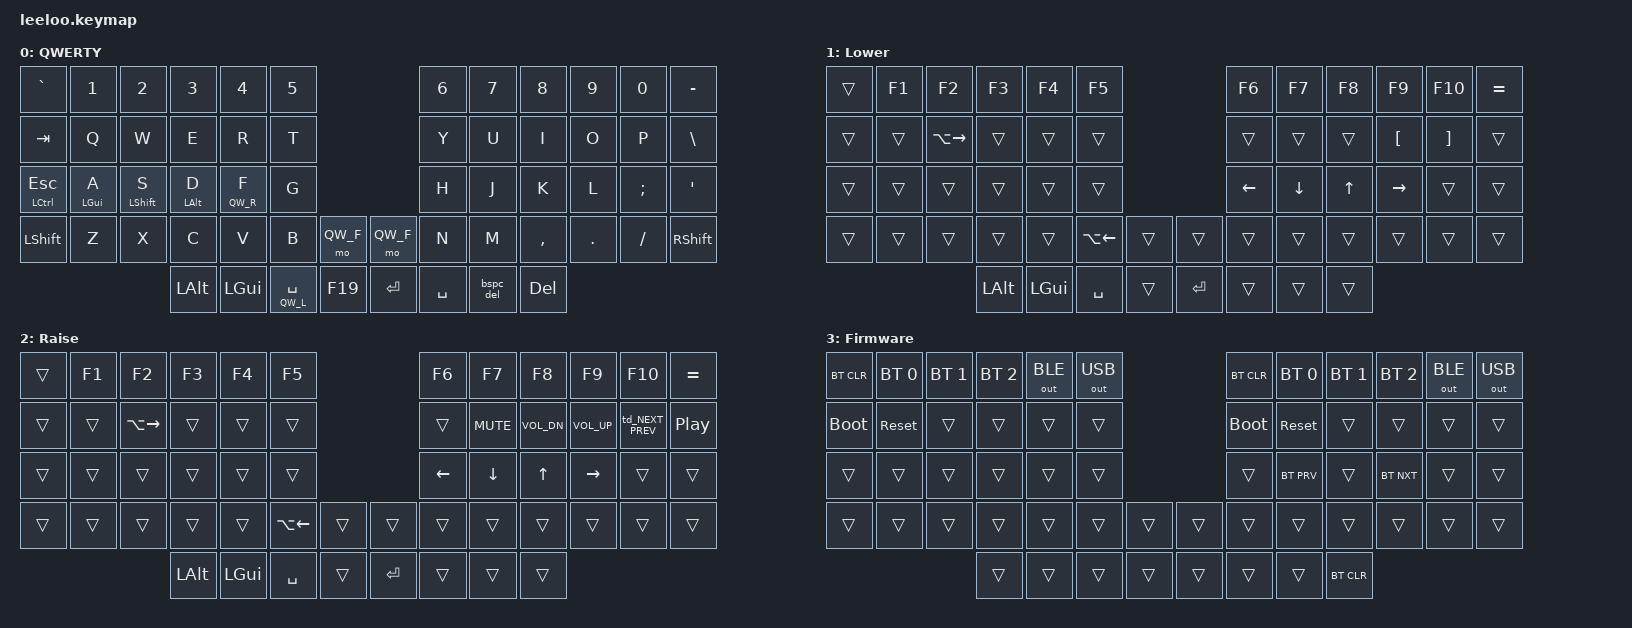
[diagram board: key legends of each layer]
/*
 * Copyright (c) 2020 The ZMK Contributors
 *
 * SPDX-License-Identifier: MIT
 *
 * Target: Zephyr 4.1 / pinned ZMK revision from config/west.yml
 * Board:  nice_nano//zmk (nice!nano v2, nRF52840)
 * Shield: leeloo_left / leeloo_right
 *
 * Key count per layer: 58 (12+12+12+14+8)
 *   Rows 0-2: 6 left + 6 right = 12 each
 *   Row 3:    6 left + 1 inner left + 1 inner right + 6 right = 14
 *   Thumb:    4 left + 4 right = 8
 */

#include <behaviors.dtsi>
#include <dt-bindings/zmk/keys.h>
#include <dt-bindings/zmk/bt.h>
#include <dt-bindings/zmk/outputs.h>


// ( LAYERS ) ------------------------------------------------------------------
#define QW_L    1       // Lower
#define QW_R    2       // Raise
#define QW_F    3       // Firmware

// ( MACROS ) ------------------------------------------------------------------
#define WLEFT  LA(LEFT)
#define WRIGHT LA(RIGHT)

/ {
  conditional_layers {
    compatible = "zmk,conditional-layers";
    firmware_combo {
      if-layers = <QW_L QW_R>;
      then-layer = <QW_F>;
    };
  };

  behaviors {
    // Ctrl/Esc hold-tap
    qm: qwerty_mods {
      compatible = "zmk,behavior-hold-tap";
      #binding-cells = <2>;
      tapping-term-ms = <200>;
      quick-tap-ms = <0>;
      flavor = "tap-preferred";
      bindings = <&kp>, <&kp>;
    };

    // Backspace normally, Delete when Ctrl is held
    bspc_del: backspace_delete {
      compatible = "zmk,behavior-mod-morph";
      #binding-cells = <0>;
      bindings = <&kp BSPC>, <&kp DEL>;
      mods = <(MOD_LCTL|MOD_RCTL)>;
    };

    // ========== HOMEROW MODS (Timeless Configuration) ==========
    // Left hand - trigger only on RIGHT side keypresses
    hml: home_row_mod_left {
      compatible = "zmk,behavior-hold-tap";
      #binding-cells = <2>;
      flavor = "balanced";
      tapping-term-ms = <350>;
      quick-tap-ms = <200>;
      require-prior-idle-ms = <200>;
      bindings = <&kp>, <&kp>;
      // Right side: row0-2 right (6-11,18-23,30-35) + row3 inner-right+right (43-49) + thumb right (54-57)
      hold-trigger-key-positions = <6 7 8 9 10 11 18 19 20 21 22 23 30 31 32 33 34 35 43 44 45 46 47 48 49 54 55 56 57>;
      hold-trigger-on-release;
    };

    // Right hand - trigger only on LEFT side keypresses
    hmr: home_row_mod_right {
      compatible = "zmk,behavior-hold-tap";
      #binding-cells = <2>;
      flavor = "balanced";
      tapping-term-ms = <280>;
      quick-tap-ms = <175>;
      require-prior-idle-ms = <150>;
      bindings = <&kp>, <&kp>;
      // Left side: row0-2 left (0-5,12-17,24-29) + row3 left+inner-left (36-42) + thumb left (50-53)
      hold-trigger-key-positions = <0 1 2 3 4 5 12 13 14 15 16 17 24 25 26 27 28 29 36 37 38 39 40 41 42 50 51 52 53>;
      hold-trigger-on-release;
    };

    td_NEXT_PREV: tap_dance_0 {
      compatible = "zmk,behavior-tap-dance";
      #binding-cells = <0>;
      tapping-term-ms = <200>;
      bindings = <&kp C_NEXT>, <&kp C_PREV>;
    };
  };

  keymap {
    compatible = "zmk,keymap";

    default_layer {                                                                   // Layer 0
      display-name = "QWERTY";
      // HOMEROW MODS (left only): A=Cmd, S=Shift, D=Alt
      bindings = <                                                                    // 58 keys
&kp GRAV        &kp N1       &kp N2       &kp N3        &kp N4        &kp N5                                   &kp N6       &kp N7        &kp N8         &kp N9        &kp N0         &kp MINUS
&kp TAB         &kp Q        &kp W        &kp E         &kp R         &kp T                                    &kp Y        &kp U         &kp I          &kp O         &kp P          &kp BSLH
&qm LCTRL ESC   &hml LGUI A  &hml LSHFT S &hml LALT D   &lt QW_R F    &kp G                                    &kp H        &kp J         &kp K          &kp L         &kp SEMI       &kp SQT
&kp LSHFT       &kp Z        &kp X        &kp C         &kp V         &kp B        &mo QW_F       &mo QW_F     &kp N        &kp M         &kp COMMA      &kp DOT       &kp FSLH       &kp RSHFT
                                          &kp LALT      &kp LGUI      &lt QW_L SPACE  &kp F19     &kp RET      &kp SPACE    &bspc_del     &kp DEL
      >;
    };

    lower_layer {                                                                     // Layer 1
      display-name = "Lower";
      bindings = <                                                                    // 58 keys
&trans          &kp F1       &kp F2       &kp F3        &kp F4        &kp F5                                   &kp F6       &kp F7        &kp F8         &kp F9        &kp F10        &kp EQUAL
&trans          &trans       &kp WRIGHT   &trans        &trans        &trans                                   &trans       &trans        &trans         &kp LBKT      &kp RBKT       &trans
&trans          &trans       &trans       &trans        &trans        &trans                                   &kp LEFT     &kp DOWN      &kp UP         &kp RIGHT     &trans         &trans
&trans          &trans       &trans       &trans        &trans        &kp WLEFT    &trans         &trans       &trans       &trans        &trans         &trans        &trans         &trans
                                          &kp LALT      &kp LGUI      &kp SPACE    &trans         &kp RET      &trans       &trans        &trans
      >;
    };

    raise_layer {                                                                     // Layer 2
      display-name = "Raise";
      bindings = <                                                                    // 58 keys
&trans          &kp F1       &kp F2       &kp F3        &kp F4        &kp F5                                   &kp F6       &kp F7        &kp F8         &kp F9        &kp F10        &kp EQUAL
&trans          &trans       &kp WRIGHT   &trans        &trans        &trans                                   &trans       &kp C_MUTE    &kp C_VOL_DN   &kp C_VOL_UP  &td_NEXT_PREV  &kp C_PLAY_PAUSE
&trans          &trans       &trans       &trans        &trans        &trans                                   &kp LEFT     &kp DOWN      &kp UP         &kp RIGHT     &trans         &trans
&trans          &trans       &trans       &trans        &trans        &kp WLEFT    &trans         &trans       &trans       &trans        &trans         &trans        &trans         &trans
                                          &kp LALT      &kp LGUI      &kp SPACE    &trans         &kp RET      &trans       &trans        &trans
      >;
    };

    firmware_layer {                                                                  // Layer 3
      display-name = "Firmware";
      bindings = <                                                                    // 58 keys
&bt BT_CLR    &bt BT_SEL 0 &bt BT_SEL 1 &bt BT_SEL 2 &out OUT_BLE &out OUT_USB                              &bt BT_CLR   &bt BT_SEL 0 &bt BT_SEL 1 &bt BT_SEL 2 &out OUT_BLE &out OUT_USB
&bootloader   &sys_reset   &trans       &trans       &trans       &trans                                    &bootloader  &sys_reset   &trans       &trans       &trans       &trans
&trans        &trans       &trans       &trans       &trans       &trans                                    &trans       &bt BT_PRV   &trans       &bt BT_NXT   &trans       &trans
&trans        &trans       &trans       &trans       &trans       &trans         &trans           &trans    &trans       &trans       &trans       &trans       &trans       &trans
                                        &trans       &trans       &trans         &trans           &trans    &trans       &trans       &bt BT_CLR
      >;
    };
  };
};


// vim:ft=devicetree:ts=2:sts=2:sw=2
